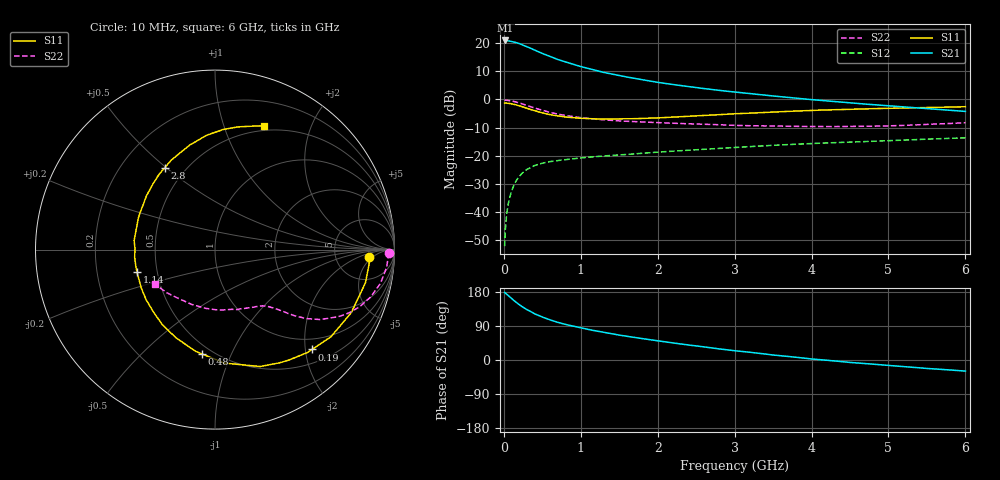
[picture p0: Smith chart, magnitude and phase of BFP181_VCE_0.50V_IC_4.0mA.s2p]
! Infineon Technologies  Discrete & RF Semiconductors
! BFP181
! VCE = 0.50V,  IC =  4.0 mA
! Common Emitter S-Parameters:  Jan 2016
# GHz  S  MA  R  50
!  f  S11  S21  S12  S22
! GHz  MAG  ANG  MAG  ANG  MAG  ANG  MAG  ANG
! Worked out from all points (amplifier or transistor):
!   210 points, 10 MHz to 6 GHz, reference 50 ohm
!   highest |S21| = 20.9 dB at 20 MHz (marker M1)
!   |S21| within 3 dB of that: start of sweep to 366 MHz
!   unconditionally stable (mu >= 1): 1.168 GHz to end of sweep
!   at 185 MHz: K = 0.22, MSG = 23.9 dB, |S12| = -27.9 dB
!   at 1.52 GHz: K = 1.19, MAG = 11.4 dB, |S12| = -19.7 dB
!   at 6 GHz: K = 1.41, MAG = 0.9 dB, |S12| = -13.6 dB
!   S11 on the Smith chart (normalised r, x): 10 MHz: 12, -4; 190 MHz: 0.77, -2.14; 480 MHz: 0.44, -0.78; 1.14 GHz: 0.38, -0.12; 2.8 GHz: 0.39, +0.49; 6 GHz: 0.45, +1.37
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0.01  0.8599 -2.8  11.03 178.4  0.0025 84.6  0.9699 -1.1
0.02  0.8626 -5.2  11.07 176.9  0.0049 87.0  0.9663 -2.4
0.05  0.8582 -12.5  10.99 171.0  0.0124 84.6  0.961 -6.0
0.1  0.8367 -24.8  10.62 162.3  0.0236 75.1  0.9408 -11.6
0.15  0.8082 -36.9  10.26 153.7  0.0341 68.9  0.906 -17.0
0.19  0.7758 -45.8  9.843 147.7  0.0414 64.5  0.8743 -20.6
0.24  0.7402 -56.3  9.248 140.4  0.0493 59.4  0.832 -24.7
0.3  0.6982 -68.9  8.604 133.0  0.0573 54.2  0.7798 -28.7
0.4  0.6349 -85.1  7.496 121.9  0.0672 47.5  0.7025 -33.7
0.48  0.5854 -97.3  6.696 115.1  0.0724 43.3  0.6529 -36.2
0.6  0.538 -113.7  5.785 105.7  0.0788 38.8  0.5887 -39.2
0.7  0.5107 -125.2  5.096 99.4  0.0824 36.4  0.5476 -40.9
0.8  0.4874 -135.1  4.614 93.9  0.0855 34.6  0.5175 -42.0
1.02  0.4604 -154.2  3.754 83.9  0.0918 31.8  0.4707 -44.3
1.14  0.4521 -163.8  3.408 78.9  0.0953 30.7  0.4525 -45.5
1.5  0.4532 173.7  2.642 65.7  0.1032 29.2  0.4148 -49.0
2.02  0.4707 148.6  1.985 50.1  0.1165 27.6  0.387 -55.9
2.8  0.5354 121.5  1.443 29.2  0.1354 24.4  0.3559 -70.0
3.1  0.5622 113.2  1.307 22.5  0.1427 23.0  0.3433 -76.4
4.1  0.644 92.5  0.964 1.1  0.1671 17.0  0.33 -101.7
5.1  0.699 78.3  0.751 -15.9  0.1873 11.0  0.342 -128.4
6  0.7412 68.6  0.612 -29.3  0.2081 4.9  0.3859 -149.9
